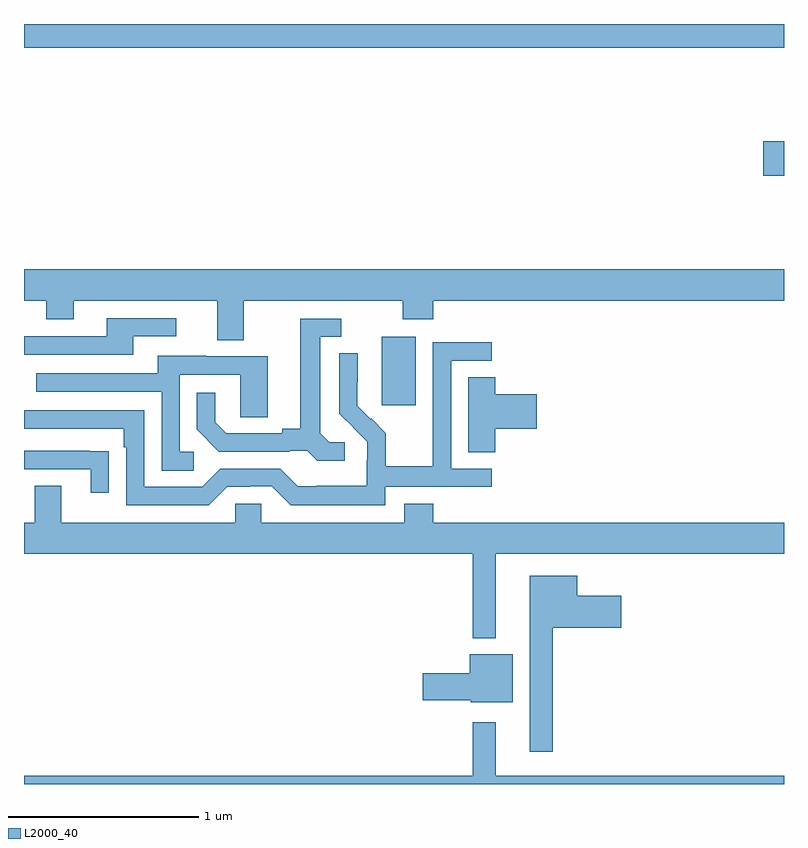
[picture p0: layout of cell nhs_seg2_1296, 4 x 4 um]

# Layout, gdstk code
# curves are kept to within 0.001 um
import gdstk
lib = gdstk.Library(unit=1e-6, precision=1e-09)
def R(c, l, rs):  # rectangles x0, y0, x1, y1
    for r in rs: c.add(gdstk.rectangle(r[:2], r[2:], *l))
def P(c, l, *ps):  # polygons
    for p in ps: c.add(gdstk.Polygon(p, *l))
L2000_40 = (2000, 40)

nhs_seg2_1296 = lib.new_cell('nhs_seg2_1296')
R(nhs_seg2_1296, L2000_40, [(180.884,605.793,181.063,606.154), (182.892,607.001,183,607.184), (179,607.676,183,607.8)])
P(nhs_seg2_1296, L2000_40, [(180.157,606.344),(180.994,606.344),(180.994,606.245),(181.154,606.245),(181.154,606.344),(183,606.344),(183,606.508),(179,606.508),(179,606.344),(179.116,606.344),(179.116,606.245),(179.263,606.245),(179.263,606.344),(180.017,606.344),(180.017,606.136),(180.157,606.136)],
  [(179.575,606.156),(179.8,606.156),(179.8,606.252),(179.435,606.252),(179.435,606.156),(179,606.156),(179,606.06),(179.575,606.06)],
  [(180.688,605.598),(180.606,605.598),(180.559,605.645),(180.559,606.153),(180.67,606.153),(180.67,606.249),(180.455,606.249),(180.455,605.669),(180.359,605.669),(180.359,605.646),(180.064,605.646),(180.007,605.703),(180.007,605.86),(179.91,605.86),(179.91,605.666),(180.026,605.55),(180.398,605.55),(180.398,605.553),(180.492,605.553),(180.544,605.501),(180.688,605.501)],
  [(180.9,605.364),(181.462,605.364),(181.462,605.46),(181.248,605.46),(181.248,606.027),(181.462,606.027),(181.462,606.126),(181.152,606.126),(181.152,605.696),(181.15,605.696),(181.15,605.473),(180.905,605.473),(180.905,605.647),(180.828,605.724),(180.825,605.721),(180.755,605.792),(180.756,606.068),(180.66,606.068),(180.66,605.75),(180.806,605.602),(180.806,605.505),(180.804,605.505),(180.804,605.371),(180.541,605.371),(180.541,605.367),(180.441,605.367),(180.348,605.46),(180.033,605.46),(179.937,605.364),(179.634,605.364),(179.634,605.766),(179,605.766),(179,605.67),(179.525,605.67),(179.525,605.573),(179.538,605.573),(179.538,605.268),(179.973,605.268),(180.069,605.364),(180.188,605.364),(180.188,605.367),(180.303,605.367),(180.403,605.267),(180.9,605.267)],
  [(179.893,605.55),(179.82,605.55),(179.82,605.955),(180.138,605.955),(180.138,605.731),(180.283,605.731),(180.283,606.051),(179.959,606.051),(179.959,606.055),(179.705,606.055),(179.705,605.961),(179.065,605.961),(179.065,605.865),(179.724,605.865),(179.724,605.449),(179.893,605.449)],
  [(181.481,605.669),(181.699,605.669),(181.699,605.852),(181.481,605.852),(181.481,605.942),(181.337,605.942),(181.337,605.545),(181.481,605.545)],
  [(179.447,605.552),(179.345,605.552),(179.345,605.553),(179,605.553),(179,605.457),(179.351,605.457),(179.351,605.334),(179.447,605.334)],
  [(181.483,605.012),(183,605.012),(183,605.176),(181.154,605.176),(181.154,605.275),(181.001,605.275),(181.001,605.176),(180.249,605.176),(180.249,605.274),(180.111,605.274),(180.111,605.176),(179.197,605.176),(179.197,605.371),(179.057,605.371),(179.057,605.176),(179,605.176),(179,605.012),(181.362,605.012),(181.362,604.568),(181.483,604.568)],
  [(181.783,604.622),(182.143,604.622),(182.143,604.792),(181.912,604.792),(181.912,604.897),(181.661,604.897),(181.661,603.969),(181.783,603.969)],
  [(181.573,604.483),(181.346,604.483),(181.346,604.382),(181.098,604.382),(181.098,604.24),(181.35,604.24),(181.35,604.229),(181.573,604.229)],
  [(183,603.844),(181.483,603.844),(181.483,604.126),(181.362,604.126),(181.362,603.844),(179,603.844),(179,603.8),(183,603.8)])

lib.write_gds('nhs_seg2_1296.gds')
